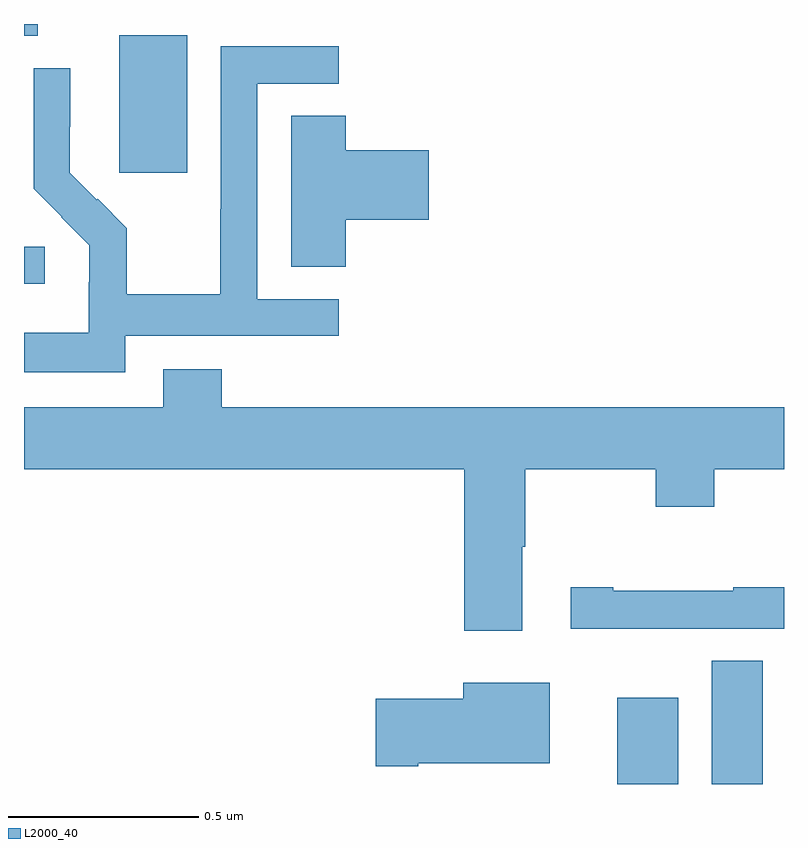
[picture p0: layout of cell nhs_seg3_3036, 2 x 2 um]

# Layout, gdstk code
import gdstk
lib = gdstk.Library(unit=1e-6, precision=1e-09)
def R(c, l, rs):  # rectangles x0, y0, x1, y1
    for r in rs: c.add(gdstk.rectangle(r[:2], r[2:], *l))
def P(c, l, *ps):  # polygons
    for p in ps: c.add(gdstk.Polygon(p, *l))
L2000_40 = (2000, 40)

nhs_seg3_3036 = lib.new_cell('nhs_seg3_3036')
R(nhs_seg3_3036, L2000_40, [(149.561,721.4,149.722,721.627), (149.81,721.4,149.944,721.724), (148,722.717,148.054,722.814), (148.25,723.009,148.429,723.37), (148,723.369,148.036,723.4)])
P(nhs_seg3_3036, L2000_40, [(148.266,722.58),(148.828,722.58),(148.828,722.676),(148.614,722.676),(148.614,723.243),(148.828,723.243),(148.828,723.342),(148.518,723.342),(148.518,722.912),(148.516,722.912),(148.516,722.689),(148.271,722.689),(148.271,722.863),(148.194,722.94),(148.191,722.937),(148.121,723.008),(148.121,723.13),(148.122,723.13),(148.122,723.284),(148.026,723.284),(148.026,722.966),(148.099,722.893),(148.098,722.892),(148.172,722.818),(148.172,722.721),(148.17,722.721),(148.17,722.587),(148,722.587),(148,722.483),(148.266,722.483)],
  [(148.847,722.885),(149.065,722.885),(149.065,723.068),(148.847,723.068),(148.847,723.158),(148.703,723.158),(148.703,722.761),(148.847,722.761)],
  [(149.311,722.024),(149.319,722.024),(149.319,722.228),(149.662,722.228),(149.662,722.129),(149.817,722.129),(149.817,722.228),(150,722.228),(150,722.392),(148.52,722.392),(148.52,722.491),(148.367,722.491),(148.367,722.392),(148,722.392),(148,722.228),(149.159,722.228),(149.159,721.803),(149.311,721.803)],
  [(149.714,721.809),(150,721.809),(150,721.918),(149.867,721.918),(149.867,721.908),(149.551,721.908),(149.551,721.918),(149.439,721.918),(149.439,721.808),(149.714,721.808)],
  [(149.038,721.454),(149.383,721.454),(149.383,721.666),(149.156,721.666),(149.156,721.625),(148.926,721.625),(148.926,721.447),(149.038,721.447)])

lib.write_gds('nhs_seg3_3036.gds')
